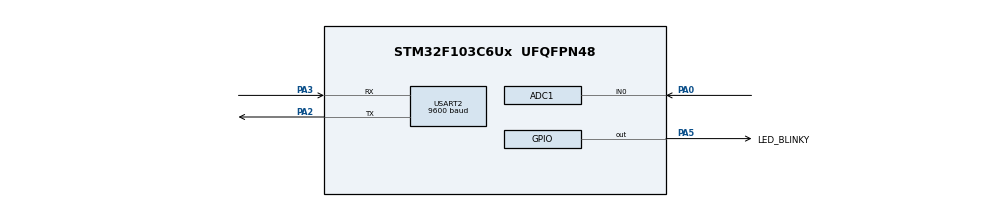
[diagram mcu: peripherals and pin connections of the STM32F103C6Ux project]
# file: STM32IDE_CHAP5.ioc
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ADC1.Channel-1\#ChannelRegularConversion=ADC_CHANNEL_0
ADC1.ContinuousConvMode=ENABLE
ADC1.NbrOfConversionFlag=1
ADC1.Rank-1\#ChannelRegularConversion=1
ADC1.SamplingTime-1\#ChannelRegularConversion=ADC_SAMPLETIME_1CYCLE_5
ADC1.master=1
Mcu.Family=STM32F1
Mcu.Name=STM32F103C6Ux
Mcu.Package=UFQFPN48
NVIC.ADC1_2_IRQn=true\:0\:0\:false\:false\:true\:true\:true
NVIC.PriorityGroup=NVIC_PRIORITYGROUP_4
NVIC.USART2_IRQn=true\:0\:0\:false\:false\:true\:true\:true
PA0-WKUP.Signal=ADCx_IN0
PA2.Mode=Asynchronous
PA2.Signal=USART2_TX
PA3.Mode=Asynchronous
PA3.Signal=USART2_RX
PA5.GPIO_Label=LED_BLINKY
PA5.GPIO_PuPd=GPIO_NOPULL
PA5.Signal=GPIO_Output
ProjectManager.HeapSize=0x200
ProjectManager.StackSize=0x400
ProjectManager.TargetToolchain=STM32CubeIDE
RCC.APB1Freq_Value=8000000
RCC.APB2Freq_Value=8000000
SH.ADCx_IN0.0=ADC1_IN0,IN0
USART2.BaudRate=9600
USART2.VirtualMode=VM_ASYNC
VP_SYS_VS_ND.Mode=No_Debug
board=custom

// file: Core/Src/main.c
/* USER CODE BEGIN Header */
/**
  ******************************************************************************
  * @file           : main.c
  * @brief          : Main program body
  ******************************************************************************
  * @attention
  *
  * <h2><center>&copy; Copyright (c) 2024 STMicroelectronics.
  * All rights reserved.</center></h2>
  *
  * This software component is licensed by ST under BSD 3-Clause license,
  * the "License"; You may not use this file except in compliance with the
  * License. You may obtain a copy of the License at:
  *                        opensource.org/licenses/BSD-3-Clause
  *
  ******************************************************************************
  */
/* USER CODE END Header */
#include "main.h"

/* USER CODE BEGIN Includes */
#include "string.h"
#include <stdio.h>
/* USER CODE END Includes */

ADC_HandleTypeDef hadc1;

UART_HandleTypeDef huart2;

void SystemClock_Config(void);
static void MX_GPIO_Init(void);
static void MX_ADC1_Init(void);
static void MX_USART2_UART_Init(void);

/* USER CODE BEGIN 0 */
#define MAX_BUFFER_SIZE 30
uint8_t temp = 0;
uint8_t buffer[MAX_BUFFER_SIZE];
uint8_t index_buffer = 0;
uint8_t buffer_flag = 0;
void HAL_UART_RxCpltCallback(UART_HandleTypeDef *huart){
	if(huart->Instance == USART2){
//		HAL_UART_Transmit(&huart2, &temp, 1, 50);

		buffer[index_buffer++] = temp;
		if(index_buffer == 30) index_buffer = 0;
		buffer_flag = 1;
		HAL_UART_Receive_IT(&huart2, &temp, 1);
	}
}
/* USER CODE END 0 */

int main(void)
{

  /* MCU Configuration--------------------------------------------------------*/

  /* Reset of all peripherals, Initializes the Flash interface and the Systick. */
  HAL_Init();

  /* Configure the system clock */
  SystemClock_Config();

  /* Initialize all configured peripherals */
  MX_GPIO_Init();
  MX_ADC1_Init();
  MX_USART2_UART_Init();
  /* USER CODE BEGIN 2 */
  uint32_t ADC_value = 0;
  uint8_t str[3] = {'H', 0, '3'};
  HAL_UART_Receive_IT(&huart2, &temp, 1);
  /* USER CODE END 2 */

  /* Infinite loop */
  /* USER CODE BEGIN WHILE */
  while (1)
  {
//	  if(buffer_flag = 1) {
//		  command_parser_fsm();
//		  buffer_flag = 0;
//	  }
//	  uart_communication_fsm();

	  HAL_GPIO_TogglePin(LED_BLINKY_GPIO_Port, LED_BLINKY_Pin);
	  ADC_value = HAL_ADC_GetValue(&hadc1);
	  HAL_UART_Transmit(&huart2, (void *)str, sprintf(str, "%d\n", ADC_value), 1000);
	  HAL_Delay(500);
    /* USER CODE END WHILE */

  }
}

void SystemClock_Config(void)
{
  RCC_OscInitTypeDef RCC_OscInitStruct = {0};
  RCC_ClkInitTypeDef RCC_ClkInitStruct = {0};
  RCC_PeriphCLKInitTypeDef PeriphClkInit = {0};

  /** Initializes the RCC Oscillators according to the specified parameters
  * in the RCC_OscInitTypeDef structure.
  */
  RCC_OscInitStruct.OscillatorType = RCC_OSCILLATORTYPE_HSI;
  RCC_OscInitStruct.HSIState = RCC_HSI_ON;
  RCC_OscInitStruct.HSICalibrationValue = RCC_HSICALIBRATION_DEFAULT;
  RCC_OscInitStruct.PLL.PLLState = RCC_PLL_NONE;
  if (HAL_RCC_OscConfig(&RCC_OscInitStruct) != HAL_OK)
  {
    Error_Handler();
  }
  /** Initializes the CPU, AHB and APB buses clocks
  */
  RCC_ClkInitStruct.ClockType = RCC_CLOCKTYPE_HCLK|RCC_CLOCKTYPE_SYSCLK
                              |RCC_CLOCKTYPE_PCLK1|RCC_CLOCKTYPE_PCLK2;
  RCC_ClkInitStruct.SYSCLKSource = RCC_SYSCLKSOURCE_HSI;
  RCC_ClkInitStruct.AHBCLKDivider = RCC_SYSCLK_DIV1;
  RCC_ClkInitStruct.APB1CLKDivider = RCC_HCLK_DIV1;
  RCC_ClkInitStruct.APB2CLKDivider = RCC_HCLK_DIV1;

  if (HAL_RCC_ClockConfig(&RCC_ClkInitStruct, FLASH_LATENCY_0) != HAL_OK)
  {
    Error_Handler();
  }
  PeriphClkInit.PeriphClockSelection = RCC_PERIPHCLK_ADC;
  PeriphClkInit.AdcClockSelection = RCC_ADCPCLK2_DIV2;
  if (HAL_RCCEx_PeriphCLKConfig(&PeriphClkInit) != HAL_OK)
  {
    Error_Handler();
  }
}

static void MX_ADC1_Init(void)
{

  ADC_ChannelConfTypeDef sConfig = {0};

  /** Common config
  */
  hadc1.Instance = ADC1;
  hadc1.Init.ScanConvMode = ADC_SCAN_DISABLE;
  hadc1.Init.ContinuousConvMode = ENABLE;
  hadc1.Init.DiscontinuousConvMode = DISABLE;
  hadc1.Init.ExternalTrigConv = ADC_SOFTWARE_START;
  hadc1.Init.DataAlign = ADC_DATAALIGN_RIGHT;
  hadc1.Init.NbrOfConversion = 1;
  if (HAL_ADC_Init(&hadc1) != HAL_OK)
  {
    Error_Handler();
  }
  /** Configure Regular Channel
  */
  sConfig.Channel = ADC_CHANNEL_0;
  sConfig.Rank = ADC_REGULAR_RANK_1;
  sConfig.SamplingTime = ADC_SAMPLETIME_1CYCLE_5;
  if (HAL_ADC_ConfigChannel(&hadc1, &sConfig) != HAL_OK)
  {
    Error_Handler();
  }

}

static void MX_USART2_UART_Init(void)
{

  huart2.Instance = USART2;
  huart2.Init.BaudRate = 9600;
  huart2.Init.WordLength = UART_WORDLENGTH_8B;
  huart2.Init.StopBits = UART_STOPBITS_1;
  huart2.Init.Parity = UART_PARITY_NONE;
  huart2.Init.Mode = UART_MODE_TX_RX;
  huart2.Init.HwFlowCtl = UART_HWCONTROL_NONE;
  huart2.Init.OverSampling = UART_OVERSAMPLING_16;
  if (HAL_UART_Init(&huart2) != HAL_OK)
  {
    Error_Handler();
  }

}

static void MX_GPIO_Init(void)
{
  GPIO_InitTypeDef GPIO_InitStruct = {0};

  /* GPIO Ports Clock Enable */
  __HAL_RCC_GPIOA_CLK_ENABLE();

  /*Configure GPIO pin Output Level */
  HAL_GPIO_WritePin(LED_BLINKY_GPIO_Port, LED_BLINKY_Pin, GPIO_PIN_RESET);

  /*Configure GPIO pin : LED_BLINKY_Pin */
  GPIO_InitStruct.Pin = LED_BLINKY_Pin;
  GPIO_InitStruct.Mode = GPIO_MODE_OUTPUT_PP;
  GPIO_InitStruct.Pull = GPIO_NOPULL;
  GPIO_InitStruct.Speed = GPIO_SPEED_FREQ_LOW;
  HAL_GPIO_Init(LED_BLINKY_GPIO_Port, &GPIO_InitStruct);

}

void Error_Handler(void)
{
  __disable_irq();
  while (1)
  {
  }
}

/************************ (C) COPYRIGHT STMicroelectronics *****END OF FILE****/
